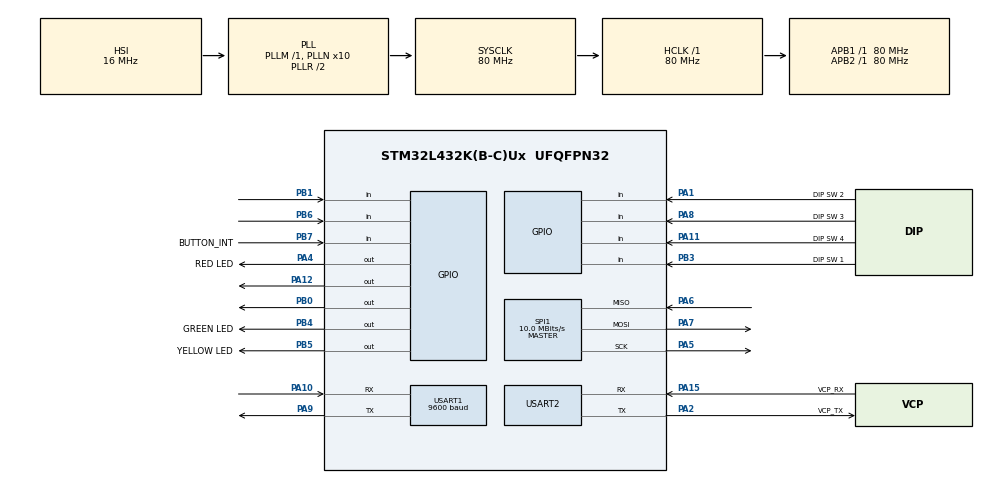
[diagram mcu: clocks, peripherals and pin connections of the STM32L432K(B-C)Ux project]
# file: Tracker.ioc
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Mcu.Family=STM32L4
Mcu.Name=STM32L432K(B-C)Ux
Mcu.Package=UFQFPN32
NVIC.PriorityGroup=NVIC_PRIORITYGROUP_4
NVIC.USART1_IRQn=true\:0\:0\:false\:false\:true\:true\:true\:true
PA0.GPIO_Label=MCO [High speed clock in]
PA0.Mode=HSE-External-Clock-Source-for-LittleOrca
PA0.Signal=RCC_CK_IN
PA1.GPIO_Label=DIP SW 2
PA1.Signal=GPIO_Input
PA10.Mode=Asynchronous
PA10.Signal=USART1_RX
PA11.GPIO_Label=DIP SW 4
PA11.Signal=GPIO_Input
PA12.Signal=GPIO_Output
PA13\ (JTMS-SWDIO).GPIO_Label=SWDIO
PA13\ (JTMS-SWDIO).Mode=Serial_Wire
PA13\ (JTMS-SWDIO).Signal=SYS_JTMS-SWDIO
PA14\ (JTCK-SWCLK).GPIO_Label=SWCLK
PA14\ (JTCK-SWCLK).Mode=Serial_Wire
PA14\ (JTCK-SWCLK).Signal=SYS_JTCK-SWCLK
PA15\ (JTDI).GPIO_Label=VCP_RX
PA15\ (JTDI).Mode=Asynchronous
PA15\ (JTDI).Signal=USART2_RX
PA2.GPIO_Label=VCP_TX
PA2.Mode=Asynchronous
PA2.Signal=USART2_TX
PA3.Signal=S_TIM2_CH4
PA4.GPIO_Label=RED LED
PA4.Signal=GPIO_Output
PA5.Mode=Full_Duplex_Master
PA5.Signal=SPI1_SCK
PA6.Mode=Full_Duplex_Master
PA6.Signal=SPI1_MISO
PA7.Mode=Full_Duplex_Master
PA7.Signal=SPI1_MOSI
PA8.GPIO_Label=DIP SW 3
PA8.Signal=GPIO_Input
PA9.Mode=Asynchronous
PA9.Signal=USART1_TX
PB0.Signal=GPIO_Output
PB1.Signal=GPIO_Input
PB3\ (JTDO-TRACESWO).GPIO_Label=DIP SW 1
PB3\ (JTDO-TRACESWO).Signal=GPIO_Input
PB4\ (NJTRST).GPIO_Label=GREEN LED
PB4\ (NJTRST).Signal=GPIO_Output
PB5.GPIO_Label=YELLOW LED
PB5.Signal=GPIO_Output
PB6.Signal=GPIO_Input
PB7.GPIO_Label=BUTTON_INT
PB7.Signal=GPIO_Input
PC14-OSC32_IN\ (PC14).Mode=LSE-External-Oscillator
PC14-OSC32_IN\ (PC14).Signal=RCC_OSC32_IN
PC15-OSC32_OUT\ (PC15).Mode=LSE-External-Oscillator
PC15-OSC32_OUT\ (PC15).Signal=RCC_OSC32_OUT
ProjectManager.HeapSize=0x200
ProjectManager.StackSize=0x400
ProjectManager.TargetToolchain=STM32CubeIDE
RCC.ADCFreq_Value=64000000
RCC.AHBFreq_Value=80000000
RCC.APB1Freq_Value=80000000
RCC.APB1TimFreq_Value=80000000
RCC.APB2Freq_Value=80000000
RCC.APB2TimFreq_Value=80000000
RCC.CortexFreq_Value=80000000
RCC.HCLKFreq_Value=80000000
RCC.HSE_VALUE=8000000
RCC.HSI16_VALUE=16000000
RCC.HSI48_VALUE=48000000
RCC.HSI_VALUE=16000000
RCC.MSI_VALUE=4000000
RCC.PLLMUL=RCC_PLLMUL_4
RCC.PLLN=10
RCC.PLLSourceVirtual=RCC_PLLSOURCE_HSI
RCC.SYSCLKFreq_VALUE=80000000
RCC.SYSCLKSource=RCC_SYSCLKSOURCE_PLLCLK
RCC.USBFreq_Value=64000000
RCC.VCOOutputFreq_Value=160000000
SH.S_TIM2_CH4.0=TIM2_CH4
SPI1.BaudRatePrescaler=SPI_BAUDRATEPRESCALER_8
SPI1.CalculateBaudRate=10.0 MBits/s
SPI1.DataSize=SPI_DATASIZE_8BIT
SPI1.Direction=SPI_DIRECTION_2LINES
SPI1.Mode=SPI_MODE_MASTER
SPI1.VirtualType=VM_MASTER
TIM2.Prescaler=79
USART1.BaudRate=9600
USART1.VirtualMode-Asynchronous=VM_ASYNC
USART2.VirtualMode-Asynchronous=VM_ASYNC
VP_TIM2_VS_ClockSourceINT.Mode=Internal
board=NUCLEO-L432KC

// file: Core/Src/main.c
/* USER CODE BEGIN Header */
/**
  ******************************************************************************
  * @file           : main.c
  * @brief          : Main program body
  ******************************************************************************
  * @attention
  *
  * Copyright (c) 2026 STMicroelectronics.
  * All rights reserved.
  *
  * This software is licensed under terms that can be found in the LICENSE file
  * in the root directory of this software component.
  * If no LICENSE file comes with this software, it is provided AS-IS.
  *
  ******************************************************************************
  */
/* USER CODE END Header */
#include "main.h"

/* USER CODE BEGIN Includes */
#include <string.h>
#include <stdio.h>
#include "lmic.h"
#include "../../Middleware/ThirdParty/LMIC/hal/hal.h"

/*
 * Red Led : A3 = PA4
 * Yellow Led: D11 = PB5
 * Green LED: D12 = PB4
 *
 * Dip Switch:
 * bit 1: wrong: D7, correction: D13 = PB3
 * bit 2: wrong: D8, correction: A1 = PA1
 * bit 3: D9 = PA8
 * bit 4: D10 = PA11
 *
 * BUTTON:
 * D4 = PB7
 */

/* USER CODE END Includes */

SPI_HandleTypeDef hspi1;

TIM_HandleTypeDef htim2;

UART_HandleTypeDef huart1;
UART_HandleTypeDef huart2;

/* USER CODE BEGIN PV */
/* --- GPS & UART Variables --- */
uint8_t rx_byte;
uint8_t gps_rx_buffer[100];
volatile uint16_t rx_index = 0;
volatile uint8_t sentence_ready = 0;

// --- Fleet Tracking Variables ---
volatile uint8_t emergency_mode = 0;    // 0 = Normal, 1 = Emergency
volatile uint32_t last_button_press = 0; // For debouncing
unsigned tx_interval = 60;              // Defaults to 60 seconds

/* --- LMIC Timing & Hardware --- */
static osjob_t sendjob;

const lmic_pinmap lmic_pins = {
    .nss = 0,
    .rxtx = LMIC_UNUSED_PIN,
    .rst = 0,
    .dio = {0, 0, LMIC_UNUSED_PIN},
};

/* --- LoRaWAN Keys & Fleet Identity --- */
void os_getArtEui (u1_t* buf) { memcpy(buf, "\x00\x00\x00\x00\x00\x00\x00\x00", 8); }
void os_getDevKey (u1_t* buf) { memcpy(buf, "\xd1\xf6\x4f\xda\xef\x7d\xf2\xa8\xa4\x23\xc6\x35\x9a\x00\xcc\x2e", 16); }

typedef struct {
    uint8_t devEui[8];
} TrackerIdentity;

const TrackerIdentity Fleet[16] = {
    {{0xe7, 0x8e, 0x5f, 0xa8, 0x26, 0xcc, 0x93, 0x10}}, // ID 0
    {{0x0d, 0x0a, 0x23, 0x30, 0x78, 0x94, 0x87, 0x6f}}, // ID 1
    {{0x4A, 0xA4, 0x23, 0xC2, 0x6D, 0x3E, 0x4C, 0xB3}}  // ID 2
    // Add remaining DevEUIs here
};

uint8_t active_tracker_id = 0;

uint8_t read_dip_switches(void) {
    uint8_t id = 0;
    if(HAL_GPIO_ReadPin(GPIOA, GPIO_PIN_11) == GPIO_PIN_SET) id |= (1 << 0);
    if(HAL_GPIO_ReadPin(GPIOA, GPIO_PIN_8) == GPIO_PIN_SET) id |= (1 << 1);
    if(HAL_GPIO_ReadPin(GPIOA, GPIO_PIN_1) == GPIO_PIN_SET) id |= (1 << 2);
    if(HAL_GPIO_ReadPin(GPIOB, GPIO_PIN_3) == GPIO_PIN_SET) id |= (1 << 3);
    return id;
}

void os_getDevEui (u1_t* buf) {
    memcpy(buf, Fleet[active_tracker_id].devEui, 8);
}

/* USER CODE END PV */

void SystemClock_Config(void);
static void MX_GPIO_Init(void);
static void MX_SPI1_Init(void);
static void MX_USART1_UART_Init(void);
static void MX_USART2_UART_Init(void);
static void MX_TIM2_Init(void);

/* USER CODE BEGIN 0 */

/* --- GPS Code --- */
uint8_t rxBuffer[128] = {0};
uint8_t rxIndex = 0;
uint8_t rxData;
float nmeaLong;
float nmeaLat;
float utcTime;
char northsouth;
char eastwest;
char posStatus;
float decimalLong;
float decimalLat;

float nmeaToDecimal(float coordinate) {
    int degree = (int)(coordinate/100);
    float minutes = coordinate - degree * 100;
    float decimalDegree = minutes / 60;
    float decimal = degree + decimalDegree;
    return decimal;
}

void gpsParse(char *strParse){
  if(!strncmp(strParse, "$GNGGA", 6)){
    sscanf(strParse, "$GNGGA,%f,%f,%c,%f,%c",
      &utcTime, &nmeaLat, &northsouth, &nmeaLong, &eastwest);
    decimalLat = nmeaToDecimal(nmeaLat);
    decimalLong = nmeaToDecimal(nmeaLong);
	sentence_ready = 1;
  }
  else if (!strncmp(strParse, "$GNGLL", 6)){
    sscanf(strParse, "$GNGLL,%f,%c,%f,%c,%f",
      &nmeaLat, &northsouth, &nmeaLong, &eastwest, &utcTime);
    decimalLat = nmeaToDecimal(nmeaLat);
    decimalLong = nmeaToDecimal(nmeaLong);
    sentence_ready = 1;
  }
  else if (!strncmp(strParse, "$GNRMC", 6)){
    sscanf(strParse, "$GNRMC,%f,%c,%f,%c,%f,%c",
      &utcTime, &posStatus, &nmeaLat, &northsouth, &nmeaLong, &eastwest);
    decimalLat = nmeaToDecimal(nmeaLat);
    decimalLong = nmeaToDecimal(nmeaLong);
	sentence_ready = 1;
  }

  if (sentence_ready == 1) {
	  if (decimalLat != 0 && decimalLong != 0) {
	      HAL_GPIO_WritePin(YELLOW_LED_GPIO_Port, YELLOW_LED_Pin, GPIO_PIN_SET);
	  } else {
	      HAL_GPIO_WritePin(YELLOW_LED_GPIO_Port, YELLOW_LED_Pin, GPIO_PIN_RESET);
	  }
  }
}

int gpsValidate(char *nmea){
    char check[3];
    char calculatedString[3];
    int index;
    int calculatedCheck;

    index=0;
    calculatedCheck=0;

    // Ensure that the string starts with a "$"
    if(nmea[index] == '$')
        index++;
    else
        return 0;

    //No NULL reached, 75 char largest possible NMEA message, no '*' reached
    while((nmea[index] != 0) && (nmea[index] != '*') && (index < 75)){
        calculatedCheck ^= nmea[index];// calculate the checksum
        index++;
    }

    if(index >= 75){
        return 0;// the string is too long so return an error
    }

    if (nmea[index] == '*'){
        check[0] = nmea[index+1];    //put hex chars in check string
        check[1] = nmea[index+2];
        check[2] = 0;
    }
    else
        return 0;// no checksum separator found therefore invalid data

    sprintf(calculatedString,"%02X",calculatedCheck);
    return((calculatedString[0] == check[0])
        && (calculatedString[1] == check[1])) ? 1 : 0 ;
}

void HAL_UART_RxCpltCallback(UART_HandleTypeDef *huart)
{
  if(huart->Instance==USART1)
  {
    // if the character received is other than 'enter' ascii13, save the data in buffer
    if(rxData!='\n' && rxIndex < sizeof(rxBuffer))
    {
      rxBuffer[rxIndex++]=rxData;
    }
    else
    {
      if(gpsValidate((char*) rxBuffer)){
    	  gpsParse((char*) rxBuffer);
      }
      rxIndex=0;
      memset(rxBuffer,0,sizeof(rxBuffer));
    }
    HAL_UART_Receive_IT(&huart1,&rxData,1); // Enabling interrupt receive again
  }
}

/* --- LoRaWAN Transmission & Event Logic --- */
void do_send(osjob_t* j) {
    if (LMIC.opmode & OP_TXRXPEND) {
        printf("OP_TXRXPEND, not sending\n");
    } else {
        int32_t lat_int = (int32_t)(decimalLat * 100000);
        int32_t lon_int = (int32_t)(decimalLong * 100000);
        uint8_t payload[9];
        // Byte 0: Emergency Status (0 or 1)
        payload[0] = emergency_mode;

        // Bytes 1-4: Latitude
        payload[1] = (lat_int >> 24) & 0xFF;
        payload[2] = (lat_int >> 16) & 0xFF;
        payload[3] = (lat_int >> 8) & 0xFF;
        payload[4] = lat_int & 0xFF;

        // Bytes 5-8: Longitude
        payload[5] = (lon_int >> 24) & 0xFF;
        payload[6] = (lon_int >> 16) & 0xFF;
        payload[7] = (lon_int >> 8) & 0xFF;
        payload[8] = lon_int & 0xFF;

        // Send 9 bytes!
        LMIC_setTxData2(1, payload, sizeof(payload), 0);
    }
}

void onEvent (ev_t ev) {
    switch(ev) {
        case EV_JOINING:
            printf("Joining...\n");
            HAL_GPIO_WritePin(GREEN_LED_GPIO_Port, GREEN_LED_Pin, GPIO_PIN_RESET);
            break;
        case EV_JOINED:
            printf("Join Success.\n");
            HAL_GPIO_WritePin(GREEN_LED_GPIO_Port, GREEN_LED_Pin, GPIO_PIN_SET);
            LMIC_setLinkCheckMode(0);
            do_send(&sendjob);
            break;

        case EV_JOIN_FAILED:
            printf("Join Failed.\n");
            HAL_GPIO_WritePin(GREEN_LED_GPIO_Port, GREEN_LED_Pin, GPIO_PIN_RESET);
            break;

        case EV_TXCOMPLETE:
            printf("Uplink complete.\n");
            os_setTimedCallback(&sendjob, os_getTime() + sec2osticks(tx_interval), do_send);
            break;

        default:
            break;
    }
}
/* USER CODE END 0 */

int main(void)
{

  /* MCU Configuration--------------------------------------------------------*/

  /* Reset of all peripherals, Initializes the Flash interface and the Systick. */
  HAL_Init();

  /* Configure the system clock */
  SystemClock_Config();

  /* Initialize all configured peripherals */
  MX_GPIO_Init();
  MX_SPI1_Init();
  MX_USART1_UART_Init();
  MX_USART2_UART_Init();
  MX_TIM2_Init();
  /* USER CODE BEGIN 2 */
  /* --- System Initialization --- */
    active_tracker_id = read_dip_switches();
    printf("Booting Tracker ID: %d\n", active_tracker_id);

    HAL_UART_Receive_IT(&huart1, &rxData, 1);

    os_init();
    LMIC_reset();
    // LMIC_setClockError(MAX_CLOCK_ERROR * 5 / 100);

    // Timing Tester code
    /*ostime_t next_10s_tick = os_getTime() + sec2osticks(10);
    int tick_count = 0;*/

    do_send(&sendjob);
  /* USER CODE END 2 */

  /* Infinite loop */
  /* USER CODE BEGIN WHILE */
    while (1)
    {
        /* --- Main Execution Loop --- */
        os_runloop_once();

        /*
         Timing Tester code
        if ((s4_t)(os_getTime() - next_10s_tick) >= 0) {

		  tick_count++;
		  printf("TICK %d: 10 LMIC seconds have passed.\n", tick_count);

		  // Toggle the Green LED to give you a visual stopwatch cue
		  HAL_GPIO_TogglePin(GPIOB, GPIO_PIN_0);

		  // Schedule the next tick exactly 10 seconds from the LAST target
		  next_10s_tick = os_getTime() + sec2osticks(10);
	  	}*/
        if (sentence_ready == 1) {
            sentence_ready = 0;
        }

        if (HAL_GPIO_ReadPin(GPIOB, GPIO_PIN_7)) {

			uint32_t current_time = HAL_GetTick();

			if (current_time - last_button_press > 15000) {
				last_button_press = current_time;

				emergency_mode = !emergency_mode;

				if (emergency_mode) {
					tx_interval = 15;
					HAL_GPIO_WritePin(RED_LED_GPIO_Port, RED_LED_Pin, GPIO_PIN_SET);
				} else {
					tx_interval = 60; // Return to normal interval
					HAL_GPIO_WritePin(RED_LED_GPIO_Port, RED_LED_Pin, GPIO_PIN_RESET);
				}

				if ((LMIC.opmode & OP_TXRXPEND) == 0) {
					printf("[INFO] Radio is free. Forcing immediate uplink...\n");
					os_clearCallback(&sendjob);
					os_setCallback(&sendjob, do_send);
				} else {
					// If they press the button while a transmission is already in the air,
					// we don't crash the radio. The emergency byte will just get picked up
					// naturally on the next scheduled interval!
					printf("[WARN] Radio is currently busy. Emergency state saved for next window.\n");
				}
			}
		}
    /* USER CODE END WHILE */

  }
}

void SystemClock_Config(void)
{
  RCC_OscInitTypeDef RCC_OscInitStruct = {0};
  RCC_ClkInitTypeDef RCC_ClkInitStruct = {0};

  /** Configure the main internal regulator output voltage
  */
  if (HAL_PWREx_ControlVoltageScaling(PWR_REGULATOR_VOLTAGE_SCALE1) != HAL_OK)
  {
    Error_Handler();
  }

  /** Initializes the RCC Oscillators according to the specified parameters
  * in the RCC_OscInitTypeDef structure.
  */
  RCC_OscInitStruct.OscillatorType = RCC_OSCILLATORTYPE_HSI;
  RCC_OscInitStruct.HSIState = RCC_HSI_ON;
  RCC_OscInitStruct.HSICalibrationValue = RCC_HSICALIBRATION_DEFAULT;
  RCC_OscInitStruct.PLL.PLLState = RCC_PLL_ON;
  RCC_OscInitStruct.PLL.PLLSource = RCC_PLLSOURCE_HSI;
  RCC_OscInitStruct.PLL.PLLM = 1;
  RCC_OscInitStruct.PLL.PLLN = 10;
  RCC_OscInitStruct.PLL.PLLP = RCC_PLLP_DIV7;
  RCC_OscInitStruct.PLL.PLLQ = RCC_PLLQ_DIV2;
  RCC_OscInitStruct.PLL.PLLR = RCC_PLLR_DIV2;
  if (HAL_RCC_OscConfig(&RCC_OscInitStruct) != HAL_OK)
  {
    Error_Handler();
  }

  /** Initializes the CPU, AHB and APB buses clocks
  */
  RCC_ClkInitStruct.ClockType = RCC_CLOCKTYPE_HCLK|RCC_CLOCKTYPE_SYSCLK
                              |RCC_CLOCKTYPE_PCLK1|RCC_CLOCKTYPE_PCLK2;
  RCC_ClkInitStruct.SYSCLKSource = RCC_SYSCLKSOURCE_PLLCLK;
  RCC_ClkInitStruct.AHBCLKDivider = RCC_SYSCLK_DIV1;
  RCC_ClkInitStruct.APB1CLKDivider = RCC_HCLK_DIV1;
  RCC_ClkInitStruct.APB2CLKDivider = RCC_HCLK_DIV1;

  if (HAL_RCC_ClockConfig(&RCC_ClkInitStruct, FLASH_LATENCY_4) != HAL_OK)
  {
    Error_Handler();
  }
}

static void MX_SPI1_Init(void)
{

  /* SPI1 parameter configuration*/
  hspi1.Instance = SPI1;
  hspi1.Init.Mode = SPI_MODE_MASTER;
  hspi1.Init.Direction = SPI_DIRECTION_2LINES;
  hspi1.Init.DataSize = SPI_DATASIZE_8BIT;
  hspi1.Init.CLKPolarity = SPI_POLARITY_LOW;
  hspi1.Init.CLKPhase = SPI_PHASE_1EDGE;
  hspi1.Init.NSS = SPI_NSS_SOFT;
  hspi1.Init.BaudRatePrescaler = SPI_BAUDRATEPRESCALER_8;
  hspi1.Init.FirstBit = SPI_FIRSTBIT_MSB;
  hspi1.Init.TIMode = SPI_TIMODE_DISABLE;
  hspi1.Init.CRCCalculation = SPI_CRCCALCULATION_DISABLE;
  hspi1.Init.CRCPolynomial = 7;
  hspi1.Init.CRCLength = SPI_CRC_LENGTH_DATASIZE;
  hspi1.Init.NSSPMode = SPI_NSS_PULSE_ENABLE;
  if (HAL_SPI_Init(&hspi1) != HAL_OK)
  {
    Error_Handler();
  }

}

static void MX_TIM2_Init(void)
{

  TIM_ClockConfigTypeDef sClockSourceConfig = {0};
  TIM_MasterConfigTypeDef sMasterConfig = {0};

  htim2.Instance = TIM2;
  htim2.Init.Prescaler = 79;
  htim2.Init.CounterMode = TIM_COUNTERMODE_UP;
  htim2.Init.Period = 4294967295;
  htim2.Init.ClockDivision = TIM_CLOCKDIVISION_DIV1;
  htim2.Init.AutoReloadPreload = TIM_AUTORELOAD_PRELOAD_DISABLE;
  if (HAL_TIM_Base_Init(&htim2) != HAL_OK)
  {
    Error_Handler();
  }
  sClockSourceConfig.ClockSource = TIM_CLOCKSOURCE_INTERNAL;
  if (HAL_TIM_ConfigClockSource(&htim2, &sClockSourceConfig) != HAL_OK)
  {
    Error_Handler();
  }
  sMasterConfig.MasterOutputTrigger = TIM_TRGO_RESET;
  sMasterConfig.MasterSlaveMode = TIM_MASTERSLAVEMODE_DISABLE;
  if (HAL_TIMEx_MasterConfigSynchronization(&htim2, &sMasterConfig) != HAL_OK)
  {
    Error_Handler();
  }

}

static void MX_USART1_UART_Init(void)
{

  huart1.Instance = USART1;
  huart1.Init.BaudRate = 9600;
  huart1.Init.WordLength = UART_WORDLENGTH_8B;
  huart1.Init.StopBits = UART_STOPBITS_1;
  huart1.Init.Parity = UART_PARITY_NONE;
  huart1.Init.Mode = UART_MODE_TX_RX;
  huart1.Init.HwFlowCtl = UART_HWCONTROL_NONE;
  huart1.Init.OverSampling = UART_OVERSAMPLING_16;
  huart1.Init.OneBitSampling = UART_ONE_BIT_SAMPLE_DISABLE;
  huart1.AdvancedInit.AdvFeatureInit = UART_ADVFEATURE_NO_INIT;
  if (HAL_UART_Init(&huart1) != HAL_OK)
  {
    Error_Handler();
  }

}

static void MX_USART2_UART_Init(void)
{

  huart2.Instance = USART2;
  huart2.Init.BaudRate = 115200;
  huart2.Init.WordLength = UART_WORDLENGTH_8B;
  huart2.Init.StopBits = UART_STOPBITS_1;
  huart2.Init.Parity = UART_PARITY_NONE;
  huart2.Init.Mode = UART_MODE_TX_RX;
  huart2.Init.HwFlowCtl = UART_HWCONTROL_NONE;
  huart2.Init.OverSampling = UART_OVERSAMPLING_16;
  huart2.Init.OneBitSampling = UART_ONE_BIT_SAMPLE_DISABLE;
  huart2.AdvancedInit.AdvFeatureInit = UART_ADVFEATURE_NO_INIT;
  if (HAL_UART_Init(&huart2) != HAL_OK)
  {
    Error_Handler();
  }

}

static void MX_GPIO_Init(void)
{
  GPIO_InitTypeDef GPIO_InitStruct = {0};

  /* GPIO Ports Clock Enable */
  __HAL_RCC_GPIOC_CLK_ENABLE();
  __HAL_RCC_GPIOA_CLK_ENABLE();
  __HAL_RCC_GPIOB_CLK_ENABLE();

  /*Configure GPIO pin Output Level */
  HAL_GPIO_WritePin(GPIOA, RED_LED_Pin|GPIO_PIN_12, GPIO_PIN_RESET);

  /*Configure GPIO pin Output Level */
  HAL_GPIO_WritePin(GPIOB, GPIO_PIN_0|GREEN_LED_Pin|YELLOW_LED_Pin, GPIO_PIN_RESET);

  /*Configure GPIO pins : DIP_SW_2_Pin DIP_SW_3_Pin DIP_SW_4_Pin */
  GPIO_InitStruct.Pin = DIP_SW_2_Pin|DIP_SW_3_Pin|DIP_SW_4_Pin;
  GPIO_InitStruct.Mode = GPIO_MODE_INPUT;
  GPIO_InitStruct.Pull = GPIO_NOPULL;
  HAL_GPIO_Init(GPIOA, &GPIO_InitStruct);

  /*Configure GPIO pins : RED_LED_Pin PA12 */
  GPIO_InitStruct.Pin = RED_LED_Pin|GPIO_PIN_12;
  GPIO_InitStruct.Mode = GPIO_MODE_OUTPUT_PP;
  GPIO_InitStruct.Pull = GPIO_NOPULL;
  GPIO_InitStruct.Speed = GPIO_SPEED_FREQ_LOW;
  HAL_GPIO_Init(GPIOA, &GPIO_InitStruct);

  /*Configure GPIO pins : PB0 GREEN_LED_Pin YELLOW_LED_Pin */
  GPIO_InitStruct.Pin = GPIO_PIN_0|GREEN_LED_Pin|YELLOW_LED_Pin;
  GPIO_InitStruct.Mode = GPIO_MODE_OUTPUT_PP;
  GPIO_InitStruct.Pull = GPIO_NOPULL;
  GPIO_InitStruct.Speed = GPIO_SPEED_FREQ_LOW;
  HAL_GPIO_Init(GPIOB, &GPIO_InitStruct);

  /*Configure GPIO pins : PB1 DIP_SW_1_Pin PB6 BUTTON_INT_Pin */
  GPIO_InitStruct.Pin = GPIO_PIN_1|DIP_SW_1_Pin|GPIO_PIN_6|BUTTON_INT_Pin;
  GPIO_InitStruct.Mode = GPIO_MODE_INPUT;
  GPIO_InitStruct.Pull = GPIO_NOPULL;
  HAL_GPIO_Init(GPIOB, &GPIO_InitStruct);

}

/* USER CODE BEGIN 4 */
/*void HAL_GPIO_EXTI_Callback(uint16_t GPIO_Pin) {
    if (GPIO_Pin == BUTTON_INT_Pin) {

        uint32_t current_time = HAL_GetTick();

        if (current_time - last_button_press > 15000) {
            last_button_press = current_time;

            emergency_mode = !emergency_mode;

            if (emergency_mode) {
                tx_interval = 15;
                HAL_GPIO_WritePin(RED_LED_GPIO_Port, RED_LED_Pin, GPIO_PIN_SET);
            } else {
                tx_interval = 60; // Return to normal interval
                HAL_GPIO_WritePin(RED_LED_GPIO_Port, RED_LED_Pin, GPIO_PIN_RESET);
            }

            if ((LMIC.opmode & OP_TXRXPEND) == 0) {
				printf("[INFO] Radio is free. Forcing immediate uplink...\n");
				os_clearCallback(&sendjob);
				os_setCallback(&sendjob, do_send);
			} else {
				// If they press the button while a transmission is already in the air,
				// we don't crash the radio. The emergency byte will just get picked up
				// naturally on the next scheduled interval!
				printf("[WARN] Radio is currently busy. Emergency state saved for next window.\n");
			}
        }
    }
}*/
/* USER CODE END 4 */

void Error_Handler(void)
{
  __disable_irq();
  while (1)
  {
  }
}
